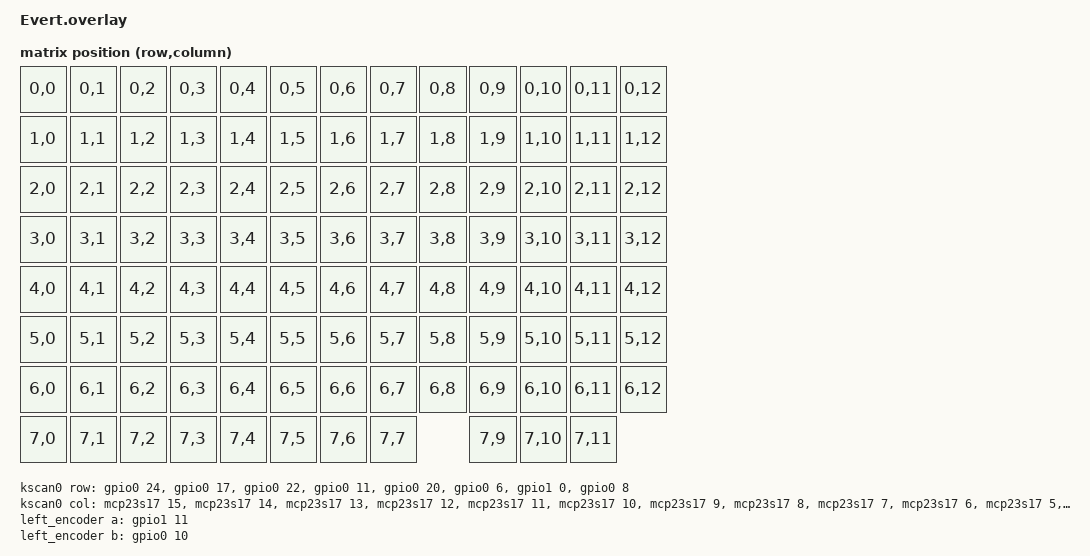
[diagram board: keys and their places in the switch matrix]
#include <dt-bindings/zmk/matrix_transform.h>
#include <dt-bindings/led/led.h>
#include <layouts/common/60percent/ansi.dtsi>
#include "Evert.dtsi"

/ {
  chosen {
        zmk,kscan = &kscan0;
        zmk,physical-layout = &layout_60_ansi;
        zephyr,sram = &sram0;
        zephyr,flash = &flash0;
        zmk,battery = &vbatt;
        zmk,underglow = &led_strip;
        zmk,display = &tft_display;
        zephyr,display = &tft_display;
        zmk,sensors = &sensors;
    };

    default_transform: keymap_transform_0 {
        compatible = "zmk,matrix-transform";
        columns = <13>;
        rows = <8>;
        map = <
            RC(0,0) RC(0,1) RC(0,2) RC(0,3) RC(0,4) RC(0,5) RC(0,6) RC(0,7) RC(0,8) RC(0,9) RC(0,10) RC(0,11) RC(0,12)
            RC(1,0) RC(1,1) RC(1,2) RC(1,3) RC(1,4) RC(1,5) RC(1,6) RC(1,7) RC(1,8) RC(1,9) RC(1,10) RC(1,11) RC(1,12)
            RC(2,0) RC(2,1) RC(2,2) RC(2,3) RC(2,4) RC(2,5) RC(2,6) RC(2,7) RC(2,8) RC(2,9) RC(2,10) RC(2,11) RC(2,12)
            RC(3,0) RC(3,1) RC(3,2) RC(3,3) RC(3,4) RC(3,5) RC(3,6) RC(3,7) RC(3,8) RC(3,9) RC(3,10) RC(3,11) RC(3,12)
            RC(4,0) RC(4,1) RC(4,2) RC(4,3) RC(4,4) RC(4,5) RC(4,6) RC(4,7) RC(4,8) RC(4,9) RC(4,10) RC(4,11) RC(4,12)
            RC(5,0) RC(5,1) RC(5,2) RC(5,3) RC(5,4) RC(5,5) RC(5,6) RC(5,7) RC(5,8) RC(5,9) RC(5,10) RC(5,11) RC(5,12)
            RC(6,0) RC(6,1) RC(6,2) RC(6,3) RC(6,4) RC(6,5) RC(6,6) RC(6,7) RC(6,8) RC(6,9) RC(6,10) RC(6,11) RC(6,12)
            RC(7,0) RC(7,1) RC(7,2) RC(7,3) RC(7,4) RC(7,5) RC(7,6) RC(7,7)         RC(7,9) RC(7,10) RC(7,11)
        >;
    };

    kscan0: kscan {
        compatible = "zmk,kscan-gpio-matrix";
        wakeup-source;

        diode-direction = "col2row";
        row-gpios
              = <&gpio0 24      (GPIO_ACTIVE_HIGH | GPIO_PULL_DOWN)>
              , <&gpio0 17      (GPIO_ACTIVE_HIGH | GPIO_PULL_DOWN)>
              , <&gpio0 22      (GPIO_ACTIVE_HIGH | GPIO_PULL_DOWN)>
              , <&gpio0 11      (GPIO_ACTIVE_HIGH | GPIO_PULL_DOWN)>
              , <&gpio0 20      (GPIO_ACTIVE_HIGH | GPIO_PULL_DOWN)>
              , <&gpio0 6       (GPIO_ACTIVE_HIGH | GPIO_PULL_DOWN)>
              , <&gpio1 0       (GPIO_ACTIVE_HIGH | GPIO_PULL_DOWN)>
              , <&gpio0 8       (GPIO_ACTIVE_HIGH | GPIO_PULL_DOWN)>
              ;
        col-gpios =   <&mcp23s17 15 GPIO_ACTIVE_HIGH>,
                      <&mcp23s17 14 GPIO_ACTIVE_HIGH>,
                      <&mcp23s17 13 GPIO_ACTIVE_HIGH>,
                      <&mcp23s17 12 GPIO_ACTIVE_HIGH>,
                      <&mcp23s17 11 GPIO_ACTIVE_HIGH>,
                      <&mcp23s17 10 GPIO_ACTIVE_HIGH>,
                      <&mcp23s17 9  GPIO_ACTIVE_HIGH>,
                      <&mcp23s17 8  GPIO_ACTIVE_HIGH>,
                      <&mcp23s17 7  GPIO_ACTIVE_HIGH>,
                      <&mcp23s17 6  GPIO_ACTIVE_HIGH>,
                      <&mcp23s17 5  GPIO_ACTIVE_HIGH>,
                      <&mcp23s17 4  GPIO_ACTIVE_HIGH>,
                      <&mcp23s17 3  GPIO_ACTIVE_HIGH>;
    };
    
    // Node name must match original "EXT_POWER" label to preserve user settings.
    EXT_POWER {
        compatible = "zmk,ext-power-generic";
        control-gpios = <&gpio0 5 GPIO_ACTIVE_LOW>;
    };

    vbatt: vbatt {
      compatible = "zmk,battery-nrf-vddhdiv5";
    };

    left_encoder: encoder_left {
        compatible = "alps,ec11";
        a-gpios = <&gpio1 11 (GPIO_ACTIVE_HIGH | GPIO_PULL_UP)>;
        b-gpios = <&gpio0 10 (GPIO_ACTIVE_HIGH | GPIO_PULL_UP)>;
        steps = <80>;
        status = "okay";
    };

    sensors: sensors {
        compatible = "zmk,keymap-sensors";
        sensors = <&left_encoder>;
        triggers-per-rotation = <20>;
    };
};

&adc {
    status = "okay";
};

&gpiote {
    status = "okay";
};

&gpio0 {
    status = "okay";
};

&gpio1 {
    status = "okay";

    mcp_reset: mcp_reset {
        gpio-hog;
        gpios = <6 GPIO_ACTIVE_HIGH>;
        output-high;
    };
};

&spi1 {
    compatible = "nordic,nrf-spim";
    status = "okay";
    pinctrl-0 = <&spi1_default>;
    pinctrl-1 = <&spi1_sleep>;
    pinctrl-names = "default", "sleep";
    cs-gpios = <&gpio0 2 GPIO_ACTIVE_LOW>,
               <&gpio0 31 GPIO_ACTIVE_LOW>;

    mcp23s17: mcp23s17@0 {
        compatible = "microchip,mcp23s17";
        reg = <0>;
        spi-max-frequency = <8000000>;
        gpio-controller;
        #gpio-cells = <2>;
        ngpios = <16>;
    };

    tft_display: st7735r@1 {
        compatible = "sitronix,st7735r";
        reg = <1>;
        spi-max-frequency = <16000000>;
        reset-gpios = <&gpio1 6 GPIO_ACTIVE_LOW>;
        cmd-data-gpios = <&gpio0 29 GPIO_ACTIVE_LOW>;
        width = <80>;
        height = <160>;
        x-offset = <26>;
        y-offset = <1>;
        madctl = <0x00>;
        colmod = <0x05>;
        caset = [00 1A 00 69];
        raset = [00 01 00 A0];
        frmctr1 = [01 2C 2D];
        frmctr2 = [01 2C 2D];
        frmctr3 = [01 2C 2D 01 2C 2D];
        invctr = <0x07>;
        pwctr1 = [A2 02 84];
        pwctr2 = [C5];
        pwctr3 = [0A 00];
        pwctr4 = [8A 2A];
        pwctr5 = [8A EE];
        vmctr1 = <0x0E>;
        gamctrp1 = [0F 1A 0F 18 2F 28 20 22 1F 1B 23 37 00 07 02 10];
        gamctrn1 = [0F 1B 0F 17 33 2C 29 2E 30 30 39 3F 00 07 03 10];
    };
};

&spi3 {
    compatible = "nordic,nrf-spim";

    pinctrl-0 = <&spi3_default>;
    pinctrl-1 = <&spi3_sleep>;
    pinctrl-names = "default", "sleep";
    status = "okay";

    led_strip: ws2812@0 {
        compatible = "worldsemi,ws2812-spi";

        /* SPI */
        reg = <0>; /* ignored, but necessary for SPI bindings */
        spi-max-frequency = <4000000>;

        /* WS2812 */
        chain-length = <103>; /* LED strip length */
        spi-one-frame = <0x70>;
        spi-zero-frame = <0x40>;
        color-mapping = <LED_COLOR_ID_GREEN LED_COLOR_ID_RED LED_COLOR_ID_BLUE>;
    };
};

zephyr_udc0: &usbd {
    status = "okay";
};

&layout_60_ansi {
    transform = <&default_transform>;
};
